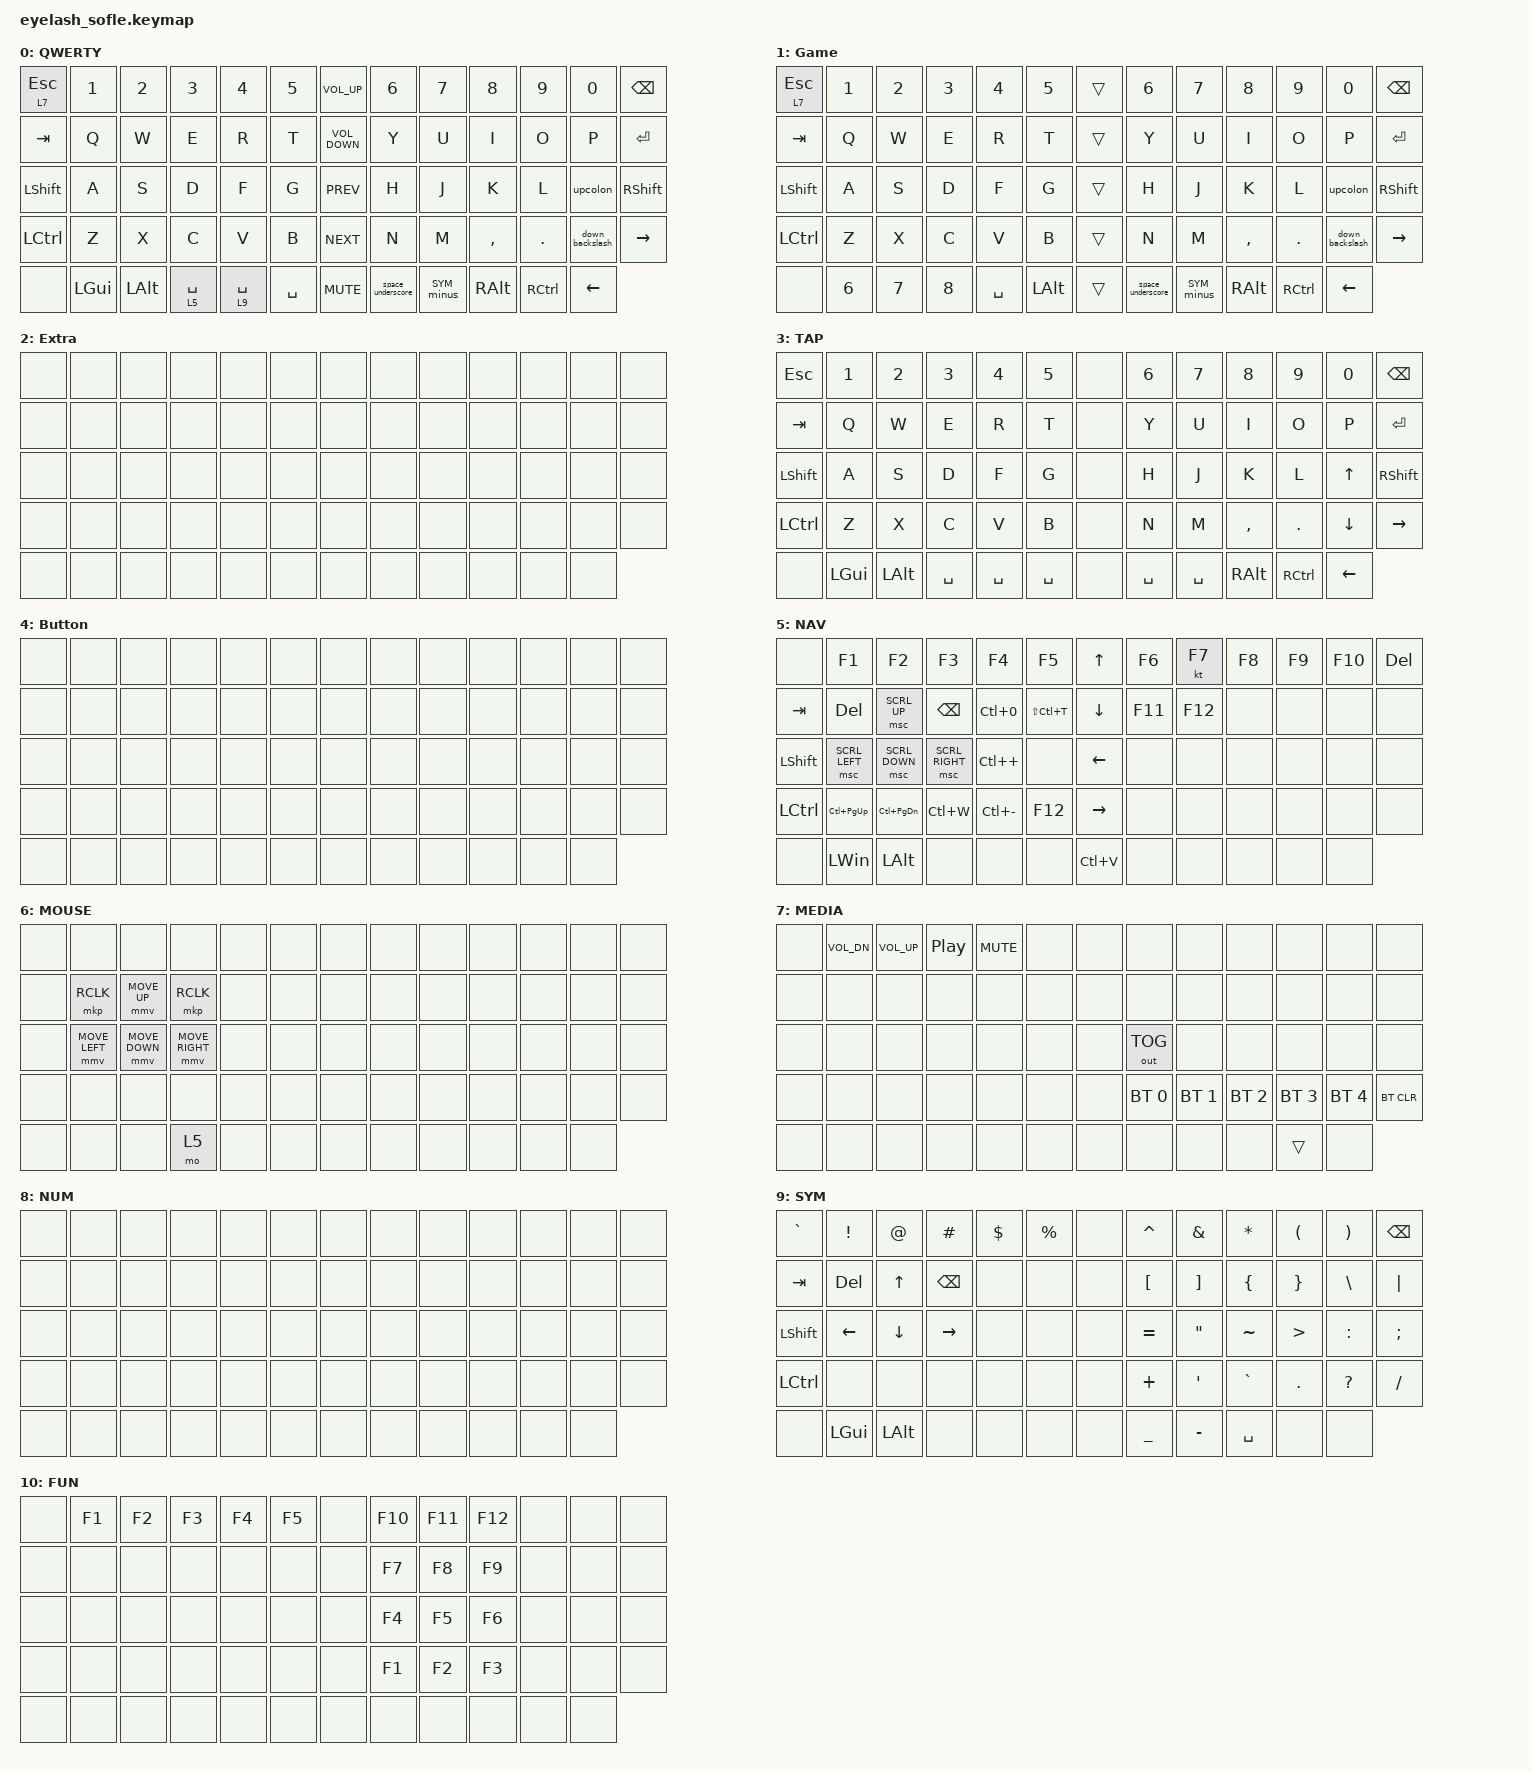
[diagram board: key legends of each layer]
#define ZMK_POINTING_DEFAULT_MOVE_VAL 1200  // 600
#define ZMK_POINTING_DEFAULT_SCRL_VAL 25   // 10

#include <input/processors.dtsi>
#include <zephyr/dt-bindings/input/input-event-codes.h>
#include <behaviors.dtsi>
#include <dt-bindings/zmk/bt.h>
#include <dt-bindings/zmk/keys.h>
#include <dt-bindings/zmk/outputs.h>
#include <dt-bindings/zmk/pointing.h>

&mmv_input_listener { input-processors = <&zip_xy_scaler 2 1>; };

&msc_input_listener { input-processors = <&zip_scroll_scaler 2 1>; };

&msc {
    time-to-max-speed-ms = <0>;       // 300                   // 0
};

&mmv {
    time-to-max-speed-ms = <500>;
    acceleration-exponent = <1>;
    trigger-period-ms = <16>;
};

/ {
    scroll_encoder: scroll_encoder {
        compatible = "zmk,behavior-sensor-rotate";
        #sensor-binding-cells = <0>;
        bindings = <&msc SCRL_DOWN>, <&msc SCRL_UP>;

        tap-ms = <100>;
    };

    tpd_layers: tpd_layers {
        compatible = "zmk,behavior-tap-dance";
        label = "TPD_LAYERS";
        #binding-cells = <0>;
        tapping-term-ms = <500>;
        bindings =
            <&to 0>,
            <&to 1>,
            <&to 2>,
            <&to 3>,
            <&to 4>,
            <&to 5>,
            <&to 6>,
            <&to 7>,
            <&to 8>,
            <&to 9>,
            <&to 10>;
    };

    u_mt: u_mt {
        compatible = "zmk,behavior-hold-tap";
        label = "U_MT";
        bindings = <&kp>, <&kp>;

        #binding-cells = <2>;
        tapping-term-ms = <200>;
        flavor = "balanced";
    };

    u_lt: u_lt {
        compatible = "zmk,behavior-hold-tap";
        label = "U_LT";
        bindings = <&mo>, <&kp>;

        #binding-cells = <2>;
        flavor = "balanced";
        tapping-term-ms = <200>;
    };

    upcolon: upcolon {
        compatible = "zmk,behavior-mod-morph";
        label = "UPCOLON";
        bindings = <&kp UP_ARROW>, <&kp COLON>;

        #binding-cells = <0>;
        mods = <(MOD_RSFT)>;
    };

    downquestion: downquestion {
        compatible = "zmk,behavior-mod-morph";
        label = "DOWNQUESTION";
        bindings = <&kp DOWN_ARROW>, <&kp QUESTION>;

        #binding-cells = <0>;
        mods = <(MOD_RSFT)>;
    };

    rightquote: rightquote {
        compatible = "zmk,behavior-mod-morph";
        label = "RIGHTQUOTE";
        bindings = <&kp RIGHT_ARROW>, <&kp SINGLE_QUOTE>;

        #binding-cells = <0>;
        mods = <(MOD_RSFT)>;
    };

    space_underscore: space_underscore {
        compatible = "zmk,behavior-mod-morph";
        label = "SPACE_UNDERSCORE";
        bindings = <&kp SPACE>, <&kp UNDERSCORE>;

        #binding-cells = <0>;
        mods = <(MOD_RSFT)>;
    };

    SYM_minus: SYM_minus {
        compatible = "zmk,behavior-mod-morph";
        label = "SYM_MINUS";
        bindings = <&lt 9 SPACE>, <&kp MINUS>;

        #binding-cells = <0>;
        mods = <(MOD_RSFT)>;
    };

    down_backslash: down_backslash {
        compatible = "zmk,behavior-mod-morph";
        label = "DOWN_BACKSLASH";
        bindings = <&downquestion>, <&kp LC(SLASH)>;

        #binding-cells = <0>;
        mods = <(MOD_RCTL)>;
    };

    behaviors {
    };

    combos {
        compatible = "zmk,combos";

        combo_del {
            bindings = <&kp DEL>;
            key-positions = <11 12>;
        };

        combo_rgui {
            bindings = <&kp RIGHT_GUI>;
            key-positions = <62 63>;
            timeout-ms = <200>;
        };

        combo_tapdanceR {
            bindings = <&tpd_layers>;
            key-positions = <59 60 61>;
        };

        combo_tapdanceL {
            bindings = <&tpd_layers>;
            key-positions = <55 56 57>;
        };

        double_space_block {
            bindings = <&kp SPACE>;
            key-positions = <55 56>;
            layers = <0 2 3 4 5 6 7 8 9 10>;
        };

        double_space_block2 {
            bindings = <&kp SPACE>;
            key-positions = <56 57>;
            layers = <3 0 2 4 5 6 7 8 9 10>;
        };

        double_space_none {
            bindings = <&kp SPACE>;
            key-positions = <59 60>;
            layers = <0 2 3 4 5 6 7 8 9 10>;
        };

        double_space_none2 {
            bindings = <&kp SPACE>;
            key-positions = <60 61>;
            layers = <0 2 3 4 5 6 7 8 10 9>;
        };

        Fun_layer {
            bindings = <&mo 10>;
            key-positions = <61 62>;
            layers = <0 2 3 4 5 6 7 8 9 10>;
        };

        caps {
            bindings = <&kp CAPSLOCK>;
            key-positions = <0 13>;
            timeout-ms = <300>;
        };

        gamegui {
            bindings = <&kp LEFT_GUI>;
            key-positions = <0 5>;
            layers = <1>;
            timeout-ms = <300>;
        };
    };

    keymap {
        compatible = "zmk,keymap";

        QWERTY {
            bindings = <
&u_lt 7 ESCAPE  &kp N1    &kp N2        &kp N3         &kp N4         &kp N5       &kp C_VOLUME_UP    &kp N6             &kp N7      &kp N8         &kp N9      &kp N0           &kp BACKSPACE
&kp TAB         &kp Q     &kp W         &kp E          &kp R          &kp T        &kp C_VOLUME_DOWN  &kp Y              &kp U       &kp I          &kp O       &kp P            &kp RETURN
&kp LSHIFT      &kp A     &kp S         &kp D          &kp F          &kp G        &kp C_PREV         &kp H              &kp J       &kp K          &kp L       &upcolon         &kp RIGHT_SHIFT
&kp LCTRL       &kp Z     &kp X         &kp C          &kp V          &kp B        &kp C_NEXT         &kp N              &kp M       &kp COMMA      &kp PERIOD  &down_backslash  &kp RIGHT_ARROW
&none           &kp LGUI  &kp LEFT_ALT  &u_lt 5 SPACE  &u_lt 9 SPACE  &kp SPACE    &kp C_MUTE         &space_underscore  &SYM_minus  &kp RIGHT_ALT  &kp RCTRL   &kp LEFT_ARROW
            >;

            display-name = "QWERTY";
            label = "QWERTY";
        };

        Game {
            label = "Game";
            display-name = "Game";
            bindings = <
&u_lt 7 ESCAPE    &kp N1        &kp N2        &kp N3        &kp N4     &kp N5          &trans  &kp N6             &kp N7      &kp N8         &kp N9             &kp N0           &kp BACKSPACE
&kp TAB           &kp Q         &kp W         &kp E         &kp R      &kp T           &trans  &kp Y              &kp U       &kp I          &kp O              &kp P            &kp RETURN
&kp LEFT_SHIFT    &kp A         &kp S         &kp D         &kp F      &kp G           &trans  &kp H              &kp J       &kp K          &kp L              &upcolon         &kp RIGHT_SHIFT
&kp LEFT_CONTROL  &kp Z         &kp X         &kp C         &kp V      &kp B           &trans  &kp N              &kp M       &kp COMMA      &kp PERIOD         &down_backslash  &kp RIGHT
&none             &kp NUMBER_6  &kp NUMBER_7  &kp NUMBER_8  &kp SPACE  &kp LEFT_ALT    &trans  &space_underscore  &SYM_minus  &kp RIGHT_ALT  &kp RIGHT_CONTROL  &kp LEFT_ARROW
            >;
        };

        Extra {
            bindings = <
&none  &none  &none  &none  &none  &none    &none  &none  &none  &none  &none  &none  &none
&none  &none  &none  &none  &none  &none    &none  &none  &none  &none  &none  &none  &none
&none  &none  &none  &none  &none  &none    &none  &none  &none  &none  &none  &none  &none
&none  &none  &none  &none  &none  &none    &none  &none  &none  &none  &none  &none  &none
&none  &none  &none  &none  &none  &none    &none  &none  &none  &none  &none  &none
            >;

            label = "Extra";
        };

        TAP {
            bindings = <
&kp ESC     &kp NUMBER_1  &kp NUMBER_2  &kp NUMBER_3  &kp NUMBER_4  &kp NUMBER_5    &none  &kp N6     &kp N7     &kp N8         &kp N9      &kp N0          &kp BSPC
&kp TAB     &kp Q         &kp W         &kp E         &kp R         &kp T           &none  &kp Y      &kp U      &kp I          &kp O       &kp P           &kp RETURN
&kp LSHIFT  &kp A         &kp S         &kp D         &kp F         &kp G           &none  &kp H      &kp J      &kp K          &kp L       &kp UP_ARROW    &kp RIGHT_SHIFT
&kp LCTRL   &kp Z         &kp X         &kp C         &kp V         &kp B           &none  &kp N      &kp M      &kp COMMA      &kp PERIOD  &kp DOWN_ARROW  &kp RIGHT_ARROW
&none       &kp LGUI      &kp LALT      &kp SPACE     &kp SPACE     &kp SPACE       &none  &kp SPACE  &kp SPACE  &kp RIGHT_ALT  &kp RCTRL   &kp LEFT_ARROW
            >;

            label = "TAP";
        };

        Button {
            bindings = <
&none  &none  &none  &none  &none  &none    &none  &none  &none  &none  &none  &none  &none
&none  &none  &none  &none  &none  &none    &none  &none  &none  &none  &none  &none  &none
&none  &none  &none  &none  &none  &none    &none  &none  &none  &none  &none  &none  &none
&none  &none  &none  &none  &none  &none    &none  &none  &none  &none  &none  &none  &none
&none  &none  &none  &none  &none  &none    &none  &none  &none  &none  &none  &none
            >;

            label = "Button";
        };

        NAV {
            bindings = <
&none             &kp F1           &kp F2             &kp F3           &kp F4         &kp F5           &kp UP_ARROW  &kp F6   &kt F7   &kp F8  &kp F9  &kp F10  &kp DELETE
&kp TAB           &kp DELETE       &msc SCRL_UP       &kp BACKSPACE    &kp LC(N0)     &kp LS(LC(T))    &kp DOWN      &kp F11  &kp F12  &none   &none   &none    &none
&kp LEFT_SHIFT    &msc SCRL_LEFT   &msc SCRL_DOWN     &msc SCRL_RIGHT  &kp LC(PLUS)   &none            &kp LEFT      &none    &none    &none   &none   &none    &none
&kp LEFT_CONTROL  &kp LC(PAGE_UP)  &kp LC(PAGE_DOWN)  &kp LC(W)        &kp LC(MINUS)  &kp F12          &kp RIGHT     &none    &none    &none   &none   &none    &none
&none             &kp LEFT_WIN     &kp LEFT_ALT       &none            &none          &none            &kp LC(V)     &none    &none    &none   &none   &none
            >;

            display-name = "NAV";
            label = "NAV";
        };

        MOUSE {
            bindings = <
&none  &none           &none           &none            &none  &none    &none  &none  &none  &none  &none  &none  &none
&none  &mkp RCLK       &mmv MOVE_UP    &mkp RCLK        &none  &none    &none  &none  &none  &none  &none  &none  &none
&none  &mmv MOVE_LEFT  &mmv MOVE_DOWN  &mmv MOVE_RIGHT  &none  &none    &none  &none  &none  &none  &none  &none  &none
&none  &none           &none           &none            &none  &none    &none  &none  &none  &none  &none  &none  &none
&none  &none           &none           &mo 5            &none  &none    &none  &none  &none  &none  &none  &none
            >;

            label = "MOUSE";
        };

        MEDIA {
            bindings = <
&none  &kp C_VOL_DN  &kp C_VOLUME_UP  &kp C_PLAY_PAUSE  &kp C_MUTE  &none    &none  &none         &none         &none         &none         &none         &none
&none  &none         &none            &none             &none       &none    &none  &none         &none         &none         &none         &none         &none
&none  &none         &none            &none             &none       &none    &none  &out OUT_TOG  &none         &none         &none         &none         &none
&none  &none         &none            &none             &none       &none    &none  &bt BT_SEL 0  &bt BT_SEL 1  &bt BT_SEL 2  &bt BT_SEL 3  &bt BT_SEL 4  &bt BT_CLR
&none  &none         &none            &none             &none       &none    &none  &none         &none         &none         &trans        &none
            >;

            label = "MEDIA";
        };

        NUM {
            bindings = <
&none  &none  &none  &none  &none  &none    &none  &none  &none  &none  &none  &none  &none
&none  &none  &none  &none  &none  &none    &none  &none  &none  &none  &none  &none  &none
&none  &none  &none  &none  &none  &none    &none  &none  &none  &none  &none  &none  &none
&none  &none  &none  &none  &none  &none    &none  &none  &none  &none  &none  &none  &none
&none  &none  &none  &none  &none  &none    &none  &none  &none  &none  &none  &none
            >;

            label = "NUM";
        };

        SYM {
            bindings = <
&kp GRAVE         &kp EXCL        &kp AT          &kp POUND        &kp DOLLAR  &kp PERCENT    &none  &kp CARET         &kp AMPERSAND      &kp ASTERISK    &kp LEFT_PARENTHESIS  &kp RIGHT_PARENTHESIS  &kp BACKSPACE
&kp TAB           &kp DELETE      &kp UP_ARROW    &kp BACKSPACE    &none       &none          &none  &kp LEFT_BRACKET  &kp RIGHT_BRACKET  &kp LEFT_BRACE  &kp RIGHT_BRACE       &kp BACKSLASH          &kp PIPE
&kp LEFT_SHIFT    &kp LEFT_ARROW  &kp DOWN_ARROW  &kp RIGHT_ARROW  &none       &none          &none  &kp EQUAL         &kp DOUBLE_QUOTES  &kp TILDE       &kp GREATER_THAN      &kp COLON              &kp SEMICOLON
&kp LEFT_CONTROL  &none           &none           &none            &none       &none          &none  &kp PLUS          &kp APOSTROPHE     &kp GRAVE       &kp PERIOD            &kp QUESTION           &kp SLASH
&none             &kp LEFT_GUI    &kp LEFT_ALT    &none            &none       &none          &none  &kp UNDERSCORE    &kp MINUS          &kp SPACE       &none                 &none
            >;

            label = "SYM";
        };

        FUN {
            bindings = <
&none  &kp F1  &kp F2  &kp F3  &kp F4  &kp F5    &none  &kp F10  &kp F11  &kp F12  &none  &none  &none
&none  &none   &none   &none   &none   &none     &none  &kp F7   &kp F8   &kp F9   &none  &none  &none
&none  &none   &none   &none   &none   &none     &none  &kp F4   &kp F5   &kp F6   &none  &none  &none
&none  &none   &none   &none   &none   &none     &none  &kp F1   &kp F2   &kp F3   &none  &none  &none
&none  &none   &none   &none   &none   &none     &none  &none    &none    &none    &none  &none
            >;

            label = "FUN";
        };
    };
};
